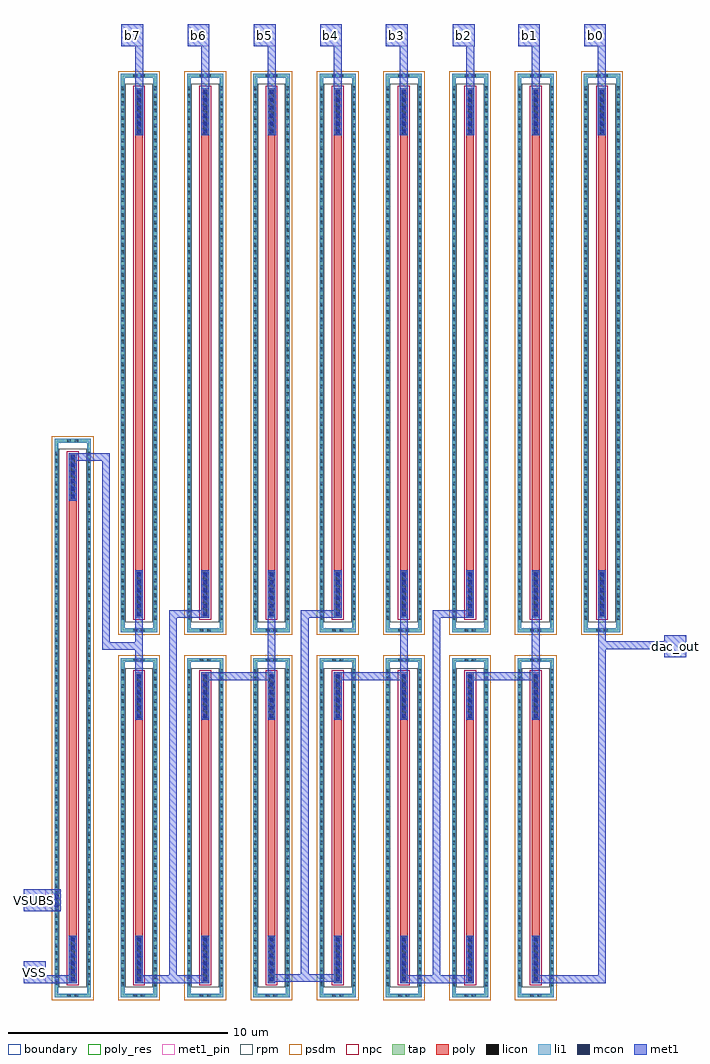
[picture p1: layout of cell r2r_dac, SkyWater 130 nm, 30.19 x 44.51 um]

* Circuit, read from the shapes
.subckt r2r_dac VSS VSUBS b0 b1 b2 b3 b4 b5 b6 b7 dac_out
XR1 n1 VSS VSUBS sky130_fd_pr__res_high_po w=0.35 l=19.88
XR2 n1 n2 VSUBS sky130_fd_pr__res_high_po w=0.35 l=9.88
XR3 b7 n1 VSUBS sky130_fd_pr__res_high_po w=0.35 l=19.88
XR4 n3 n2 VSUBS sky130_fd_pr__res_high_po w=0.35 l=9.88
XR5 b6 n2 VSUBS sky130_fd_pr__res_high_po w=0.35 l=19.88
XR6 n3 n4 VSUBS sky130_fd_pr__res_high_po w=0.35 l=9.88
XR7 b5 n3 VSUBS sky130_fd_pr__res_high_po w=0.35 l=19.88
XR8 n5 n4 VSUBS sky130_fd_pr__res_high_po w=0.35 l=9.88
XR9 b4 n4 VSUBS sky130_fd_pr__res_high_po w=0.35 l=19.88
XR10 n5 n6 VSUBS sky130_fd_pr__res_high_po w=0.35 l=9.88
XR11 b3 n5 VSUBS sky130_fd_pr__res_high_po w=0.35 l=19.88
XR12 n7 n6 VSUBS sky130_fd_pr__res_high_po w=0.35 l=9.88
XR13 b2 n6 VSUBS sky130_fd_pr__res_high_po w=0.35 l=19.88
XR14 n7 dac_out VSUBS sky130_fd_pr__res_high_po w=0.35 l=9.88
XR15 b1 n7 VSUBS sky130_fd_pr__res_high_po w=0.35 l=19.88
XR16 b0 dac_out VSUBS sky130_fd_pr__res_high_po w=0.35 l=19.88
.ends

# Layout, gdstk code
import gdstk
lib = gdstk.Library(unit=1e-6, precision=1e-09)
def R(c, l, rs):  # rectangles x0, y0, x1, y1
    for r in rs: c.add(gdstk.rectangle(r[:2], r[2:], *l))
def A(c, l, x, y, w, h, nx, ny, dx, dy):  # array of equal rectangles
    R(c, l, [(x+i*dx, y+j*dy, x+i*dx+w, y+j*dy+h) for i in range(nx) for j in range(ny)])
tap = (65, 44)
poly_res = (66, 13)
poly = (66, 20)
licon = (66, 44)
li1 = (67, 20)
mcon = (67, 44)
met1_pin = (68, 16)
met1 = (68, 20)
rpm = (86, 20)
psdm = (94, 20)
npc = (95, 20)
boundary = (235, 4)

sky130_fd_pr__res_high_p = lib.new_cell('sky130_fd_pr__res_high_po_0p35_QPS5FG')
R(sky130_fd_pr__res_high_p, tap, [(-0.825,-12.73,0.825,-12.56), (-0.825,-12.56,-0.655,12.56), (0.655,-12.56,0.825,12.56), (-0.825,12.56,0.825,12.73)])
R(sky130_fd_pr__res_high_p, poly_res, [(-0.175,-10,0.175,10)])
R(sky130_fd_pr__res_high_p, poly, [(-0.175,-12.08,0.175,12.08)])
A(sky130_fd_pr__res_high_p, licon, -0.825, -12.155, 0.17, 0.17, 1, 72, 0, 0.34)
A(sky130_fd_pr__res_high_p, licon, 0.655, -12.155, 0.17, 0.17, 1, 72, 0, 0.34)
R(sky130_fd_pr__res_high_p, licon, [(-0.255,-12.73,-0.085,-12.56), (0.085,-12.73,0.255,-12.56), (-0.095,-12,0.095,-10), (-0.095,10,0.095,12), (-0.255,12.56,-0.085,12.73), (0.085,12.56,0.255,12.73)])
R(sky130_fd_pr__res_high_p, li1, [(-0.825,-12.73,0.825,-12.56), (-0.825,-12.56,-0.655,12.56), (0.655,-12.56,0.825,12.56), (-0.175,-12.08,0.175,-9.92), (-0.175,9.92,0.175,12.08), (-0.825,12.56,0.825,12.73)])
A(sky130_fd_pr__res_high_p, mcon, -0.085, -11.985, 0.17, 0.17, 1, 6, 0, 0.36)
A(sky130_fd_pr__res_high_p, mcon, -0.085, 10.01, 0.17, 0.17, 1, 6, 0, 0.36)
R(sky130_fd_pr__res_high_p, met1, [(-0.125,-12.05,0.125,-9.945), (-0.125,9.945,0.125,12.05)])
R(sky130_fd_pr__res_high_p, rpm, [(-0.635,-12.28,0.635,12.28)])
R(sky130_fd_pr__res_high_p, psdm, [(-0.95,-12.855,0.95,12.855)])
R(sky130_fd_pr__res_high_p, npc, [(-0.27,-12.175,0.27,12.175)])
R(sky130_fd_pr__res_high_p, boundary, [(-0.74,-12.645,0.74,12.645)])

c_sky130_fd_pr__res_high_p = lib.new_cell('sky130_fd_pr__res_high_po_0p35_FFK5MY')
R(c_sky130_fd_pr__res_high_p, tap, [(-0.825,-7.73,0.825,-7.56), (-0.825,-7.56,-0.655,7.56), (0.655,-7.56,0.825,7.56), (-0.825,7.56,0.825,7.73)])
R(c_sky130_fd_pr__res_high_p, poly_res, [(-0.175,-5,0.175,5)])
R(c_sky130_fd_pr__res_high_p, poly, [(-0.175,-7.08,0.175,7.08)])
A(c_sky130_fd_pr__res_high_p, licon, -0.825, -7.225, 0.17, 0.17, 1, 43, 0, 0.34)
A(c_sky130_fd_pr__res_high_p, licon, 0.655, -7.225, 0.17, 0.17, 1, 43, 0, 0.34)
R(c_sky130_fd_pr__res_high_p, licon, [(-0.255,-7.73,-0.085,-7.56), (0.085,-7.73,0.255,-7.56), (-0.095,-7,0.095,-5), (-0.095,5,0.095,7), (-0.255,7.56,-0.085,7.73), (0.085,7.56,0.255,7.73)])
R(c_sky130_fd_pr__res_high_p, li1, [(-0.825,-7.73,0.825,-7.56), (-0.825,-7.56,-0.655,7.56), (0.655,-7.56,0.825,7.56), (-0.175,-7.08,0.175,-4.92), (-0.175,4.92,0.175,7.08), (-0.825,7.56,0.825,7.73)])
A(c_sky130_fd_pr__res_high_p, mcon, -0.085, -6.985, 0.17, 0.17, 1, 6, 0, 0.36)
A(c_sky130_fd_pr__res_high_p, mcon, -0.085, 5.01, 0.17, 0.17, 1, 6, 0, 0.36)
R(c_sky130_fd_pr__res_high_p, met1, [(-0.125,-7.05,0.125,-4.945), (-0.125,4.945,0.125,7.05)])
R(c_sky130_fd_pr__res_high_p, rpm, [(-0.635,-7.28,0.635,7.28)])
R(c_sky130_fd_pr__res_high_p, psdm, [(-0.95,-7.855,0.95,7.855)])
R(c_sky130_fd_pr__res_high_p, npc, [(-0.27,-7.175,0.27,7.175)])
R(c_sky130_fd_pr__res_high_p, boundary, [(-0.74,-7.645,0.74,7.645)])

r2r_dac = lib.new_cell('r2r_dac')
R(r2r_dac, li1, [(-3.6,-16.97,-3.43,-16.17)])
R(r2r_dac, mcon, [(-3.6,-16.835,-3.43,-16.665), (-3.6,-16.475,-3.43,-16.305)])
R(r2r_dac, met1_pin, [(-5,-20.32,-4,-19.32), (-5,-17.05,-4,-16.05), (24.19,-5.46,25.19,-4.46), (-0.56,22.4,0.44,23.4), (2.46,22.4,3.46,23.4), (5.485,22.4,6.485,23.4), (8.5,22.4,9.5,23.4), (11.5,22.4,12.5,23.4), (14.55,22.4,15.55,23.4), (17.53,22.4,18.53,23.4), (20.54,22.4,21.54,23.4)])
A(r2r_dac, met1, -2.95, -19.97, 0.35, 1.81, 3, 1, 3.02, 0)
A(r2r_dac, met1, 3.09, -8.32, 0.35, 1.81, 5, 1, 3.02, 0)
A(r2r_dac, met1, 3.09, -3.32, 0.35, 1.81, 3, 1, 6.04, 0)
A(r2r_dac, met1, 0.07, 18.33, 0.36, 4.07, 4, 1, 3.02, 0)
A(r2r_dac, met1, 0.07, 23.4, 0.36, 0.01, 3, 1, 3.02, 0)
R(r2r_dac, met1, [(-5,-20.32,-2.6,-19.97), (0.07,-20.32,3.44,-19.97), (6.11,-20.32,6.46,-20.27), (9.13,-20.32,9.48,-20.27), (12.15,-20.32,15.52,-19.97), (18.16,-20.32,21.53,-19.97), (6.11,-20.27,9.48,-19.92), (-5,-19.97,-4,-19.32), (1.62,-19.97,1.97,-3.67), (12.15,-19.97,12.5,-18.16), (13.63,-19.97,13.98,-3.67), (15.17,-19.97,15.52,-18.16), (18.16,-19.97,18.51,-18.16), (21.18,-19.97,21.53,-5.095), (6.11,-19.92,6.46,-18.16), (7.625,-19.92,7.975,-3.67), (9.13,-19.92,9.48,-18.16), (-5,-17.05,-3.32,-16.05), (0.07,-8.32,0.42,-5.13), (18.16,-8.32,18.51,-6.51), (3.09,-6.51,6.46,-6.16), (9.13,-6.51,12.5,-6.16), (15.17,-6.51,18.51,-6.16), (6.11,-6.16,6.46,-1.51), (12.15,-6.16,12.5,-1.51), (18.16,-6.16,18.51,-1.51), (24.19,-5.46,25.19,-5.095), (-1.43,-5.13,0.42,-4.78), (21.18,-5.095,25.19,-4.745), (-1.43,-4.78,-1.08,3.49), (0.07,-4.78,0.42,-1.51), (21.18,-4.745,21.53,-1.51), (24.19,-4.745,25.19,-4.46), (1.62,-3.67,3.44,-3.32), (7.625,-3.67,9.48,-3.32), (13.63,-3.67,15.52,-3.32), (-2.95,1.68,-2.6,3.49), (-2.95,3.49,-1.08,3.84), (12.14,18.33,12.5,22.4), (15.17,18.33,15.53,22.4), (18.16,18.33,18.52,22.4), (21.175,18.33,21.535,22.4), (-0.56,22.4,0.44,23.4), (2.46,22.4,3.46,23.4), (5.485,22.4,6.485,23.4), (8.5,22.4,9.5,23.4), (11.5,22.4,12.5,23.4), (14.55,22.4,15.55,23.4), (17.53,22.4,18.53,23.4), (20.54,22.4,21.54,23.4)])
r2r_dac.add(gdstk.Reference(sky130_fd_pr__res_high_p, (-2.775,-8.24)))
r2r_dac.add(gdstk.Reference(sky130_fd_pr__res_high_p, (0.245,8.41)))
r2r_dac.add(gdstk.Reference(c_sky130_fd_pr__res_high_p, (0.245,-13.24)))
r2r_dac.add(gdstk.Reference(sky130_fd_pr__res_high_p, (3.265,8.41)))
r2r_dac.add(gdstk.Reference(c_sky130_fd_pr__res_high_p, (3.265,-13.24)))
r2r_dac.add(gdstk.Reference(sky130_fd_pr__res_high_p, (6.285,8.41)))
r2r_dac.add(gdstk.Reference(c_sky130_fd_pr__res_high_p, (6.285,-13.24)))
r2r_dac.add(gdstk.Reference(sky130_fd_pr__res_high_p, (9.305,8.41)))
r2r_dac.add(gdstk.Reference(c_sky130_fd_pr__res_high_p, (9.305,-13.24)))
r2r_dac.add(gdstk.Reference(sky130_fd_pr__res_high_p, (12.325,8.41)))
r2r_dac.add(gdstk.Reference(c_sky130_fd_pr__res_high_p, (12.325,-13.24)))
r2r_dac.add(gdstk.Reference(sky130_fd_pr__res_high_p, (15.345,8.41)))
r2r_dac.add(gdstk.Reference(c_sky130_fd_pr__res_high_p, (15.345,-13.24)))
r2r_dac.add(gdstk.Reference(sky130_fd_pr__res_high_p, (18.335,8.41)))
r2r_dac.add(gdstk.Reference(c_sky130_fd_pr__res_high_p, (18.335,-13.24)))
r2r_dac.add(gdstk.Reference(sky130_fd_pr__res_high_p, (21.355,8.41)))
r2r_dac.add(gdstk.Label('dac_out', (24.69,-4.96), layer=68, texttype=5))
r2r_dac.add(gdstk.Label('VSS', (-4.5,-19.82), layer=68, texttype=5))
r2r_dac.add(gdstk.Label('b1', (18.03,22.9), layer=68, texttype=5))
r2r_dac.add(gdstk.Label('b3', (12,22.9), layer=68, texttype=5))
r2r_dac.add(gdstk.Label('b4', (9,22.9), layer=68, texttype=5))
r2r_dac.add(gdstk.Label('b5', (5.985,22.9), layer=68, texttype=5))
r2r_dac.add(gdstk.Label('b7', (-0.06,22.9), layer=68, texttype=5))
r2r_dac.add(gdstk.Label('b6', (2.96,22.9), layer=68, texttype=5))
r2r_dac.add(gdstk.Label('b2', (15.05,22.9), layer=68, texttype=5))
r2r_dac.add(gdstk.Label('b0', (21.04,22.9), layer=68, texttype=5))
r2r_dac.add(gdstk.Label('VSUBS', (-4.5,-16.55), layer=68, texttype=5))

lib.write_gds('r2r_dac.gds')
